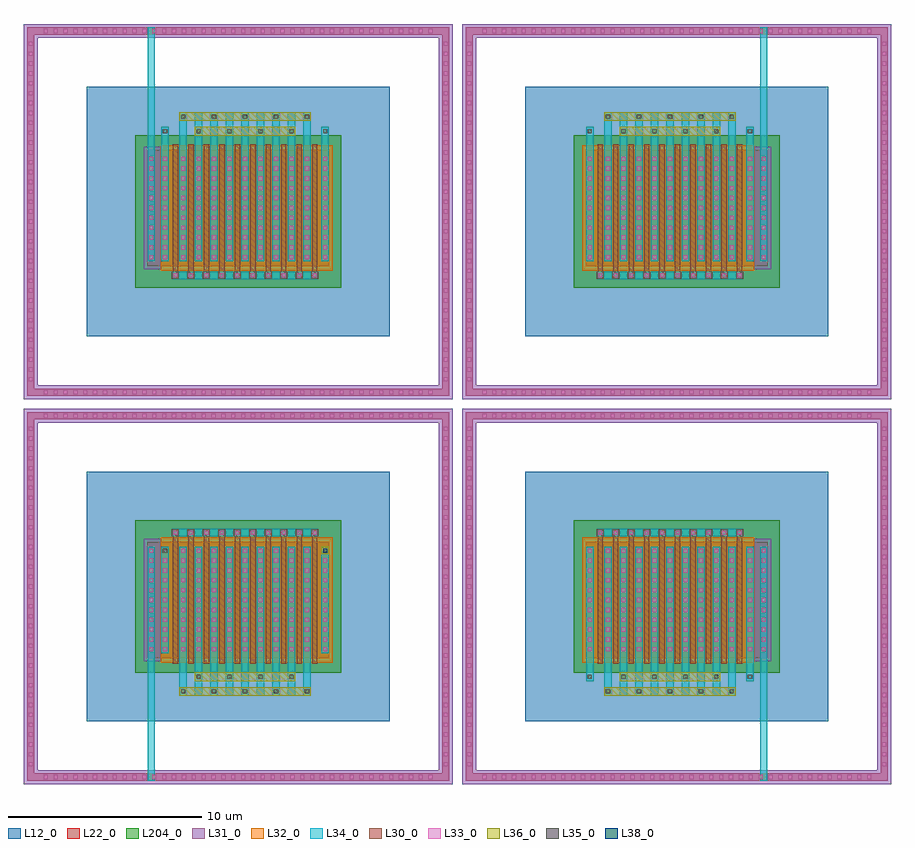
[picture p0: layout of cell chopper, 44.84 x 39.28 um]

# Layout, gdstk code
from math import pi, radians
import gdstk
lib = gdstk.Library(unit=1e-6, precision=1e-09)
def R(c, l, rs):  # rectangles x0, y0, x1, y1
    for r in rs: c.add(gdstk.rectangle(r[:2], r[2:], *l))
def A(c, l, x, y, w, h, nx, ny, dx, dy):  # array of equal rectangles
    R(c, l, [(x+i*dx, y+j*dy, x+i*dx+w, y+j*dy+h) for i in range(nx) for j in range(ny)])
def P(c, l, *ps):  # polygons
    for p in ps: c.add(gdstk.Polygon(p, *l))
L12_0 = (12, 0)
L22_0 = (22, 0)
L30_0 = (30, 0)
L31_0 = (31, 0)
L32_0 = (32, 0)
L33_0 = (33, 0)
L34_0 = (34, 0)
L35_0 = (35, 0)
L36_0 = (36, 0)
L38_0 = (38, 0)
L204_0 = (204, 0)

nfet = lib.new_cell('nfet')
R(nfet, L12_0, [(-3.55,-3.26,12.12,9.632)])
R(nfet, L22_0, [(-0.42,0,0,6), (0,0,7.86,6), (7.86,0,8.28,6), (8.28,0,8.99,6)])
P(nfet, L22_0, [(-6.63,-6.34),(-6.63,12.332),(-6.25,12.332),(-6.25,-5.96),(14.82,-5.96),(14.82,12.332),(-6.63,12.332),(-6.63,12.712),(15.2,12.712),(15.2,-6.34)])
A(nfet, L30_0, 0.19, -0.3, 0.28, 6.6, 10, 1, 0.8, 0)
A(nfet, L30_0, 0.15, 6.3, 0.36, 0.36, 10, 1, 0.8, 0)
R(nfet, L31_0, [(8.28,-0.17,9.16,6.17)])
P(nfet, L31_0, [(-6.8,-6.51),(-6.8,12.162),(-6.08,12.162),(-6.08,-5.79),(14.65,-5.79),(14.65,12.162),(-6.8,12.162),(-6.8,12.882),(15.37,12.882),(15.37,-6.51)])
R(nfet, L32_0, [(-0.59,-0.24,8.28,6.24)])
A(nfet, L33_0, -5.77, -6.26, 0.22, 0.22, 40, 2, 0.51, 18.672)
A(nfet, L33_0, -6.55, -5.594, 0.22, 0.22, 1, 35, 0, 0.51)
A(nfet, L33_0, 14.9, -5.594, 0.22, 0.22, 1, 35, 0, 0.51)
A(nfet, L33_0, -0.32, 0.34, 0.22, 0.22, 1, 11, 0, 0.51)
A(nfet, L33_0, 0.62, 0.34, 0.22, 0.22, 9, 11, 0.8, 0.51)
A(nfet, L33_0, 7.96, 0.34, 0.22, 0.22, 1, 11, 0, 0.51)
A(nfet, L33_0, 8.67, 0.34, 0.22, 0.22, 1, 11, 0, 0.51)
A(nfet, L33_0, 0.22, 6.37, 0.22, 0.22, 10, 1, 0.8, 0)
A(nfet, L34_0, 0.54, 0.26, 0.38, 5.48, 9, 1, 0.8, 0)
A(nfet, L34_0, 0.14, 6.289, 0.38, 0.382, 10, 1, 0.8, 0)
R(nfet, L34_0, [(-0.4,0.26,-0.02,5.74), (7.88,0.26,8.26,5.74), (8.59,0.26,8.97,5.74)])
R(nfet, L204_0, [(-1.04,-0.75,9.61,7.122)])

chopper = lib.new_cell('chopper')
A(chopper, L34_0, -6.77, -33.8, 0.38, 2.218, 9, 2, 0.8, 27.962)
A(chopper, L34_0, 15.19, -33.8, 0.38, 2.218, 9, 2, 0.8, 27.962)
R(chopper, L34_0, [(-8.42,-38.18,-8.04,-31.58), (23.24,-38.18,23.62,-31.58), (14.25,-33.05,14.63,-31.582), (22.53,-33.04,22.91,-31.582), (-7.17,-25.551,0.41,-25.169), (14.79,-25.551,22.18,-25.169), (-6.92,-12.249,0.3,-11.867), (14.79,-12.249,22.37,-11.867), (-8.42,-5.84,-8.04,0.76), (23.24,-5.84,23.62,0.76), (-7.71,-5.838,-7.33,-4.38), (0.57,-5.838,0.95,-4.38), (14.25,-5.838,14.63,-4.37), (22.53,-5.838,22.91,-4.38)])
A(chopper, L35_0, -6.69, -33.67, 0.22, 0.22, 5, 2, 1.6, 29.7)
A(chopper, L35_0, 15.27, -33.67, 0.22, 0.22, 5, 2, 1.6, 29.7)
A(chopper, L35_0, -5.89, -32.92, 0.22, 0.22, 4, 2, 1.6, 28.2)
A(chopper, L35_0, 16.07, -32.92, 0.22, 0.22, 4, 2, 1.6, 28.2)
R(chopper, L35_0, [(14.33,-32.92,14.55,-32.7), (22.61,-32.92,22.83,-32.7), (-7.63,-26.402,-7.41,-26.182), (0.65,-26.402,0.87,-26.182), (-7.63,-4.72,-7.41,-4.5), (0.65,-4.72,0.87,-4.5), (14.33,-4.72,14.55,-4.5), (22.61,-4.72,22.83,-4.5)])
R(chopper, L36_0, [(-6.77,-33.8,0.01,-33.34), (15.19,-33.8,21.97,-33.34), (-5.97,-33.04,-0.79,-32.58), (15.99,-33.04,21.17,-32.58), (0.57,-26.48,0.95,-26.1), (-5.97,-4.84,-0.79,-4.38), (15.99,-4.84,21.17,-4.38), (-6.77,-4.08,0.01,-3.62), (15.19,-4.08,21.97,-3.62)])
R(chopper, L38_0, [(0.65,-26.4,0.87,-26.18)])
chopper.add(gdstk.Reference(nfet, (0.55,-5.578), rotation=pi))
chopper.add(gdstk.Reference(nfet, (14.65,-31.84)))
chopper.add(gdstk.Reference(nfet, (0.55,-31.84), rotation=pi, x_reflection=True))
chopper.add(gdstk.Reference(nfet, (14.65,-5.578), x_reflection=True))

lib.write_gds('chopper.gds')
